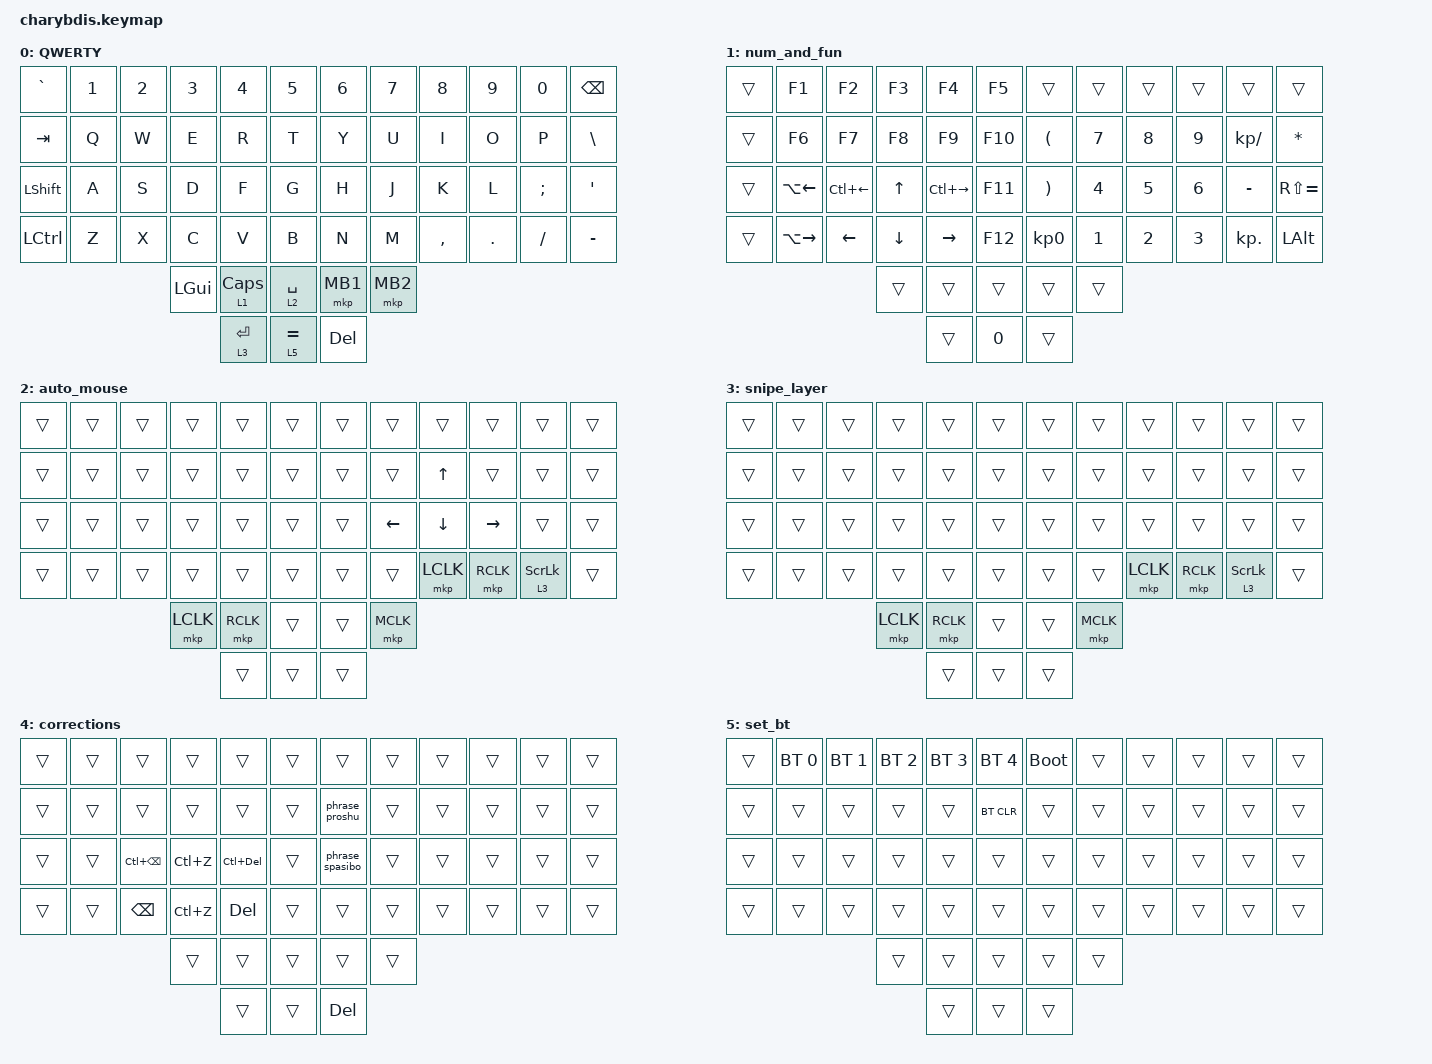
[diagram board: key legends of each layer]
#define ZMK_POINTING_DEFAULT_SCRL_VAL 120

#include <behaviors.dtsi>
#include <dt-bindings/zmk/bt.h>
#include <dt-bindings/zmk/keys.h>
#include <dt-bindings/zmk/pointing.h>

/ {
    behaviors {
        // Кастомное движение мыши

        mmv_slow: mmv_slow {
            compatible = "zmk,behavior-input-two-axis";
            #binding-cells = <1>;
            x-input-code = <INPUT_REL_X>;
            y-input-code = <INPUT_REL_Y>;
            time-to-max-speed-ms = <500>;
            acceleration-exponent = <1>;
        };

        hml: homewrow_mods_left {
            compatible = "zmk,behavior-hold-tap";
            label = "homewrow_mods_left";
            bindings = <&kp>, <&kp>;

            #binding-cells = <2>;
            hold-trigger-key-positions = <6 7 8 9 10 11 18 19 20 21 22 23 30 31 32 33 34 35 42 43 44 45 46 47 53 54 55 56 57>;
            tapping-term-ms = <300>;
            flavor = "balanced";
            quick-tap-ms = <175>;
            require-prior-idle-ms = <250>;
            hold-trigger-on-release;
        };

        hmr: hmr {
            compatible = "zmk,behavior-hold-tap";
            label = "HMR";
            bindings = <&kp>, <&kp>;

            #binding-cells = <2>;
            tapping-term-ms = <300>;
            hold-trigger-key-positions = <0 1 12 13 14 15 16 17 24 25 26 27 28 29 36 37 38 39 40 41 48 49 50 51 52 2 3 4 5>;
            flavor = "balanced";
            quick-tap-ms = <175>;
            require-prior-idle-ms = <250>;
            hold-trigger-on-release;
        };

        tap_preferred: tap_preferred {
            compatible = "zmk,behavior-hold-tap";
            label = "TAP_PREFERRED";
            bindings = <&mo>, <&kp>;

            #binding-cells = <2>;
            tapping-term-ms = <40>;
            flavor = "tap-preferred";
        };

        phrase_proshu: phrase_proshu {
            compatible = "zmk,behavior-macro";
            label = "phrase_proshu";
            #binding-cells = <0>;
            bindings =
                <&macro_press>,
                <&kp LSHIFT>,
                <&macro_tap>,
                <&kp G>,
                <&macro_release>,
                <&kp LSHIFT>,
                <&macro_tap>,
                <&kp H>,
                <&macro_tap>,
                <&kp J>,
                <&macro_tap>,
                <&kp I>,
                <&macro_tap>,
                <&kp E>,
                <&macro_tap>,
                <&kp SPACE>,
                <&macro_tap>,
                <&kp H>,
                <&macro_tap>,
                <&kp F>,
                <&macro_tap>,
                <&kp C>,
                <&macro_tap>,
                <&kp C>,
                <&macro_tap>,
                <&kp V>,
                <&macro_tap>,
                <&kp J>,
                <&macro_tap>,
                <&kp N>,
                <&macro_tap>,
                <&kp H>,
                <&macro_tap>,
                <&kp T>,
                <&macro_tap>,
                <&kp N>,
                <&macro_tap>,
                <&kp M>,
                <&macro_press>,
                <&kp LCTRL>,
                <&macro_tap>,
                <&kp ENTER>,
                <&macro_release>,
                <&kp LCTRL>;
        };

        phrase_spasibo: phrase_spasibo {
            compatible = "zmk,behavior-macro";
            label = "phrase_spasibo";
            #binding-cells = <0>;
            bindings =
                <&macro_press>,
                <&kp LSHIFT>,
                <&macro_tap>,
                <&kp C>,
                <&macro_release>,
                <&kp LSHIFT>,
                <&macro_tap>,
                <&kp G>,
                <&macro_tap>,
                <&kp F>,
                <&macro_tap>,
                <&kp C>,
                <&macro_tap>,
                <&kp B>,
                <&macro_tap>,
                <&kp COMMA>,
                <&macro_tap>,
                <&kp J>,
                <&macro_tap>,
                <&kp EXCL>,
                <&macro_press>,
                <&kp LCTRL>,
                <&macro_tap>,
                <&kp ENTER>,
                <&macro_release>,
                <&kp LCTRL>;
        };
    };

    combos {
        compatible = "zmk,combos";

        minus {
            bindings = <&kp MINUS>;
            key-positions = <31 30>;
        };

        par {
            bindings = <&kp RIGHT_PARENTHESIS>;
            key-positions = <31 32>;
            require-prior-idle-ms = <100>;
        };

        par2 {
            bindings = <&kp LEFT_PARENTHESIS>;
            key-positions = <27 28>;
            require-prior-idle-ms = <100>;
        };

        underscore {
            bindings = <&kp UNDER>;
            key-positions = <42 43>;
        };

        bra {
            bindings = <&kp LEFT_BRACKET>;
            key-positions = <15 16>;
        };

        right {
            bindings = <&kp RIGHT_BRACKET>;
            key-positions = <19 20>;
        };

        equal {
            bindings = <&kp EQUAL>;
            key-positions = <40 41>;
        };

        plus {
            bindings = <&kp PLUS>;
            key-positions = <18 19>;
        };

        esc {
            bindings = <&kp ESCAPE>;
            key-positions = <0 1>;
        };

        LAYER_BT {
            bindings = <&mo 5>;
            key-positions = <36 47>;
        };

        home {
            bindings = <&kp HOME>;
            key-positions = <10 22>;
            layers = <1>;
        };

        end {
            bindings = <&kp END>;
            key-positions = <11 23>;
            layers = <1>;
        };

        pg_up {
            bindings = <&kp PAGE_UP>;
            key-positions = <10 11>;
            layers = <1>;
        };

        pg_dn {
            bindings = <&kp PAGE_DOWN>;
            key-positions = <22 23>;
            layers = <1>;
        };

        ar_up {
            bindings = <&kp UP_ARROW>;
            key-positions = <34 35>;
            layers = <1>;
        };

        ar_dn {
            bindings = <&kp DOWN_ARROW>;
            key-positions = <46 47>;
            layers = <1>;
        };

        ar_lt {
            bindings = <&kp LEFT_ARROW>;
            key-positions = <34 46>;
            layers = <1>;
        };

        al_rt {
            bindings = <&kp RIGHT_ARROW>;
            key-positions = <35 47>;
            layers = <1>;
        };

        less {
            bindings = <&kp LESS_THAN>;
            key-positions = <39 40>;
        };

        greater {
            bindings = <&kp GREATER_THAN>;
            key-positions = <43 44>;
        };

        logoff {
            bindings = <&kp LG(L)>;
            key-positions = <0 12>;
        };
    };

    macros {
    };

    keymap {
        compatible = "zmk,keymap";

        QWERTY {
            bindings = <
&kp GRAVE  &kp N1  &kp N2  &kp N3    &kp N4          &kp N5         &kp N6      &kp N7    &kp N8     &kp N9   &kp N0    &kp BACKSPACE
&kp TAB    &kp Q   &kp W   &kp E     &kp R           &kp T          &kp Y       &kp U     &kp I      &kp O    &kp P     &kp BACKSLASH
&kp LSHFT  &kp A   &kp S   &kp D     &kp F           &kp G          &kp H       &kp J     &kp K      &kp L    &kp SEMI  &kp APOS
&kp LCTRL  &kp Z   &kp X   &kp C     &kp V           &kp B          &kp N       &kp M     &kp COMMA  &kp DOT  &kp FSLH  &kp MINUS
                           &kp LGUI  &lt 1 CAPSLOCK  &lt 2 SPACE    &mkp MB1    &mkp MB2
                                     &lt 3 ENTER     &lt 5 EQUAL    &kp DELETE
            >;
        };

        num_and_fun {
            bindings = <
&trans  &kp F1               &kp F2              &kp F3          &kp F4               &kp F5          &trans           &trans        &trans        &trans        &trans         &trans
&trans  &kp F6               &kp F7              &kp F8          &kp F9               &kp F10         &kp LPAR         &kp NUMBER_7  &kp NUMBER_8  &kp NUMBER_9  &kp KP_DIVIDE  &kp ASTERISK
&trans  &kp LA(LEFT_ARROW)   &kp LC(LEFT_ARROW)  &kp UP_ARROW    &kp LC(RIGHT_ARROW)  &kp F11         &kp RPAR         &kp NUMBER_4  &kp NUMBER_5  &kp NUMBER_6  &kp MINUS      &kp RS(EQUAL)
&trans  &kp LA(RIGHT_ARROW)  &kp LEFT_ARROW      &kp DOWN_ARROW  &kp RIGHT_ARROW      &kp F12         &kp KP_NUMBER_0  &kp NUMBER_1  &kp NUMBER_2  &kp NUMBER_3  &kp KP_DOT     &kp LEFT_ALT
                                                 &trans          &trans               &trans          &trans           &trans
                                                                 &trans               &kp NUMBER_0    &trans
            >;
        };

        auto_mouse {
            bindings = <
&trans  &trans  &trans  &trans     &trans     &trans    &trans  &trans          &trans          &trans           &trans            &trans
&trans  &trans  &trans  &trans     &trans     &trans    &trans  &trans          &kp UP_ARROW    &trans           &trans            &trans
&trans  &trans  &trans  &trans     &trans     &trans    &trans  &kp LEFT_ARROW  &kp DOWN_ARROW  &kp RIGHT_ARROW  &trans            &trans
&trans  &trans  &trans  &trans     &trans     &trans    &trans  &trans          &mkp LCLK       &mkp RCLK        &lt 3 SCROLLLOCK  &trans
                        &mkp LCLK  &mkp RCLK  &trans    &trans  &mkp MCLK
                                   &trans     &trans    &trans
            >;
        };

        snipe_layer {
            bindings = <
&trans  &trans  &trans  &trans     &trans     &trans    &trans  &trans     &trans     &trans     &trans            &trans
&trans  &trans  &trans  &trans     &trans     &trans    &trans  &trans     &trans     &trans     &trans            &trans
&trans  &trans  &trans  &trans     &trans     &trans    &trans  &trans     &trans     &trans     &trans            &trans
&trans  &trans  &trans  &trans     &trans     &trans    &trans  &trans     &mkp LCLK  &mkp RCLK  &lt 3 SCROLLLOCK  &trans
                        &mkp LCLK  &mkp RCLK  &trans    &trans  &mkp MCLK
                                   &trans     &trans    &trans
            >;
        };

        corrections {
            bindings = <
&trans  &trans  &trans             &trans     &trans          &trans    &trans           &trans  &trans  &trans  &trans  &trans
&trans  &trans  &trans             &trans     &trans          &trans    &phrase_proshu   &trans  &trans  &trans  &trans  &trans
&trans  &trans  &kp LC(BACKSPACE)  &kp LC(Z)  &kp LC(DELETE)  &trans    &phrase_spasibo  &trans  &trans  &trans  &trans  &trans
&trans  &trans  &kp BACKSPACE      &kp LC(Z)  &kp DELETE      &trans    &trans           &trans  &trans  &trans  &trans  &trans
                                   &trans     &trans          &trans    &trans           &trans
                                              &trans          &trans    &kp DELETE
            >;
        };

        set_bt {
            bindings = <
&trans  &bt BT_SEL 0  &bt BT_SEL 1  &bt BT_SEL 2  &bt BT_SEL 3  &bt BT_SEL 4    &bootloader  &trans  &trans  &trans  &trans  &trans
&trans  &trans        &trans        &trans        &trans        &bt BT_CLR      &trans       &trans  &trans  &trans  &trans  &trans
&trans  &trans        &trans        &trans        &trans        &trans          &trans       &trans  &trans  &trans  &trans  &trans
&trans  &trans        &trans        &trans        &trans        &trans          &trans       &trans  &trans  &trans  &trans  &trans
                                    &trans        &trans        &trans          &trans       &trans
                                                  &trans        &trans          &trans
            >;
        };
    };
};
